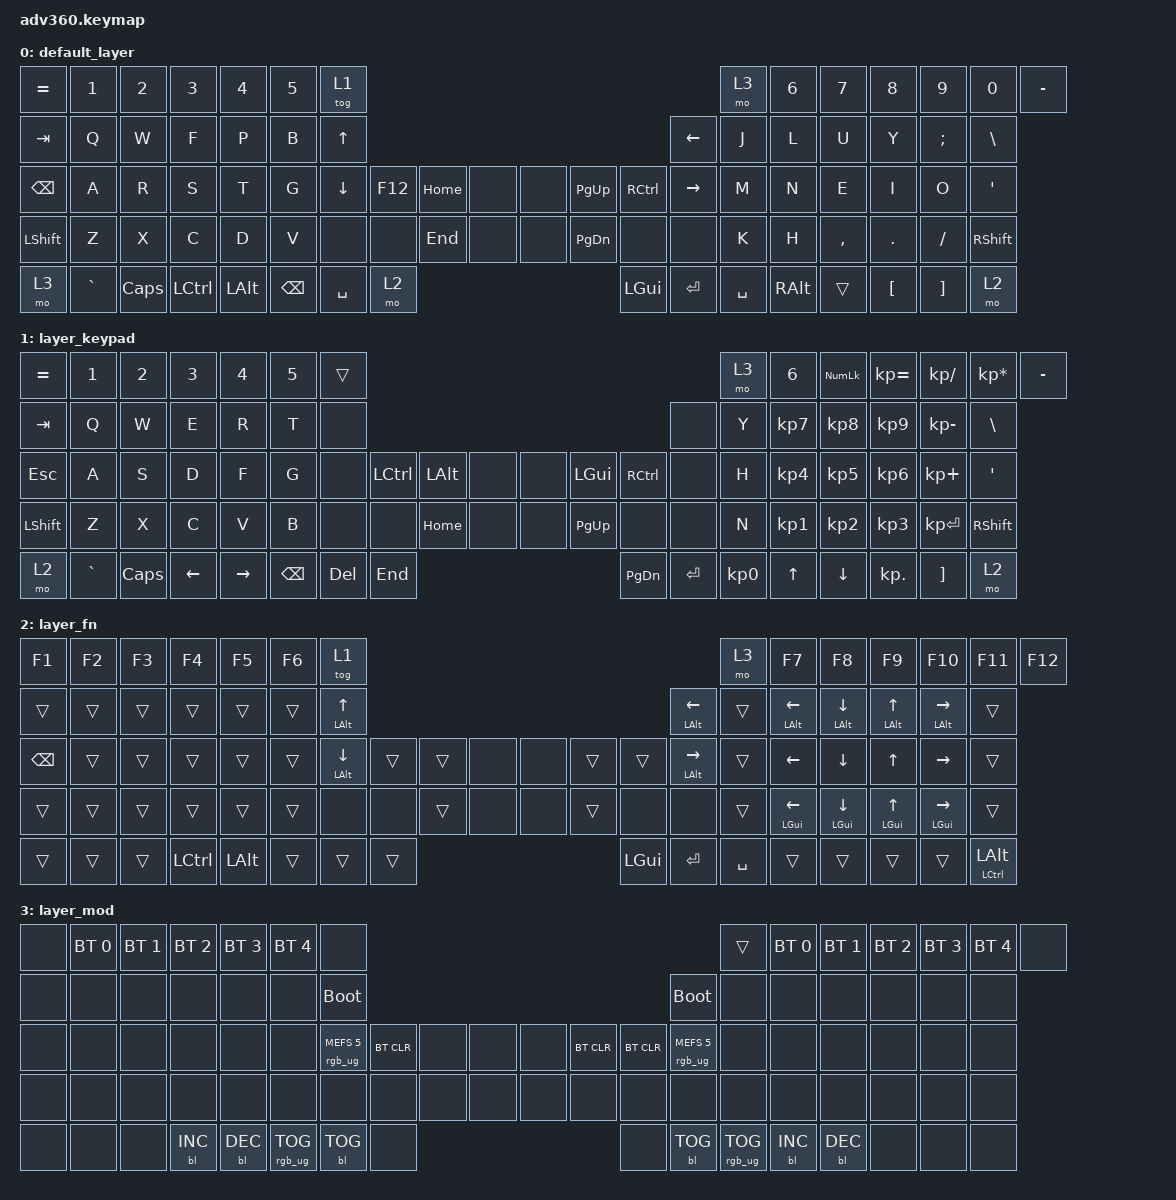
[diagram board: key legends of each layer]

/*
 * Copyright (c) 2020 The ZMK Contributors
 *
 * SPDX-License-Identifier: MIT
 */


/* THIS FILE WAS GENERATED!
 *
 * This file was generated automatically. You may or may not want to
 * edit it directly.
 */

#include <behaviors.dtsi>
#include <dt-bindings/zmk/keys.h>
#include <dt-bindings/zmk/bt.h>
#include <dt-bindings/zmk/rgb.h>
#include <dt-bindings/zmk/backlight.h>

/ {
  behaviors {
    #include "macros.dtsi"

    hm: homerow_mods {
        compatible = "zmk,behavior-hold-tap";
        label = "HOMEROW_MODS";
        #binding-cells = <2>;
        tapping-term-ms = <200>;
        quick_tap_ms = <175>;
        flavor = "tap-preferred";
        bindings = <&kp>, <&kp>;
    };
  };

    keymap {
        compatible = "zmk,keymap";


        default_layer {
            bindings = <
     &kp EQUAL     &kp N1    &kp N2            &kp N3        &kp N4  &kp N5              &tog 1                                                                 &mo 3  &kp N6         &kp N7     &kp N8    &kp N9         &kp N0  &kp MINUS
       &kp TAB      &kp Q     &kp W             &kp F         &kp P   &kp B              &kp UP                                                              &kp LEFT   &kp J          &kp L      &kp U     &kp Y  &kp SEMICOLON   &kp BSLH
 &kp BACKSPACE      &kp A     &kp R             &kp S         &kp T   &kp G            &kp DOWN    &kp F12  &kp HOME   &none   &none  &kp PG_UP  &kp RCTRL  &kp RIGHT   &kp M          &kp N      &kp E     &kp I          &kp O    &kp SQT
     &kp LSHFT      &kp Z     &kp X             &kp C         &kp D   &kp V               &none      &none   &kp END   &none   &none  &kp PG_DN      &none      &none   &kp K          &kp H  &kp COMMA   &kp DOT       &kp FSLH  &kp RSHFT
         &mo 3  &kp GRAVE  &kp CAPS  &kp LEFT_CONTROL  &kp LEFT_ALT                    &kp BSPC  &kp SPACE     &mo 2                   &kp LGUI  &kp ENTER  &kp SPACE          &kp RIGHT_ALT     &trans  &kp LBKT       &kp RBKT      &mo 2
            >;
        };

        layer_keypad {
            bindings = <
 &kp EQUAL     &kp N1    &kp N2    &kp N3     &kp N4  &kp N5              &trans                                                                 &mo 3  &kp N6  &kp KP_NUM  &kp KP_EQUAL  &kp KP_DIVIDE  &kp KP_MULTIPLY  &kp MINUS
   &kp TAB      &kp Q     &kp W     &kp E      &kp R   &kp T               &none                                                                 &none   &kp Y   &kp KP_N7     &kp KP_N8      &kp KP_N9     &kp KP_MINUS   &kp BSLH
   &kp ESC      &kp A     &kp S     &kp D      &kp F   &kp G               &none  &kp LCTRL  &kp LALT   &none   &none   &kp LGUI  &kp RCTRL      &none   &kp H   &kp KP_N4     &kp KP_N5      &kp KP_N6      &kp KP_PLUS    &kp SQT
 &kp LSHFT      &kp Z     &kp X     &kp C      &kp V   &kp B               &none      &none  &kp HOME   &none   &none  &kp PG_UP      &none      &none   &kp N   &kp KP_N1     &kp KP_N2      &kp KP_N3     &kp KP_ENTER  &kp RSHFT
     &mo 2  &kp GRAVE  &kp CAPS  &kp LEFT  &kp RIGHT                    &kp BSPC    &kp DEL   &kp END                  &kp PG_DN  &kp ENTER  &kp KP_N0              &kp UP      &kp DOWN     &kp KP_DOT         &kp RBKT      &mo 2
            >;
        };

        layer_fn {
            bindings = <
        &kp F1  &kp F2  &kp F3     &kp F4        &kp F5  &kp F6                   &tog 1                                                                &mo 3  &kp F7         &kp F8         &kp F9      &kp F10         &kp F11             &kp F12
        &trans  &trans  &trans     &trans        &trans  &trans              &mt LALT UP                                                        &mt LALT LEFT  &trans  &mt LALT LEFT  &mt LALT DOWN  &mt LALT UP  &mt LALT RIGHT              &trans
 &kp BACKSPACE  &trans  &trans     &trans        &trans  &trans            &mt LALT DOWN  &trans  &trans   &none   &none    &trans     &trans  &mt LALT RIGHT  &trans       &kp LEFT       &kp DOWN       &kp UP       &kp RIGHT              &trans
        &trans  &trans  &trans     &trans        &trans  &trans                    &none   &none  &trans   &none   &none    &trans      &none           &none  &trans  &mt LGUI LEFT  &mt LGUI DOWN  &mt LGUI UP  &mt LGUI RIGHT              &trans
        &trans  &trans  &trans  &kp LCTRL  &kp LEFT_ALT                           &trans  &trans  &trans                  &kp LGUI  &kp ENTER       &kp SPACE                 &trans         &trans       &trans          &trans  &mt LCTRL LEFT_ALT
            >;
        };

        layer_mod {
            bindings = <
  &none  &bt BT_SEL 0  &bt BT_SEL 1  &bt BT_SEL 2  &bt BT_SEL 3  &bt BT_SEL 4                             &none                                                                              &trans  &bt BT_SEL 0  &bt BT_SEL 1  &bt BT_SEL 2  &bt BT_SEL 3  &bt BT_SEL 4   &none
  &none         &none         &none         &none         &none         &none                       &bootloader                                                                         &bootloader         &none         &none         &none         &none         &none   &none
  &none         &none         &none         &none         &none         &none            &rgb_ug RGB_MEFS_CMD 5  &bt BT_CLR   &none   &none   &none  &bt BT_CLR  &bt BT_CLR  &rgb_ug RGB_MEFS_CMD 5         &none         &none         &none         &none         &none   &none
  &none         &none         &none         &none         &none         &none                             &none       &none   &none   &none   &none       &none       &none                   &none         &none         &none         &none         &none         &none   &none
  &none         &none         &none    &bl BL_INC    &bl BL_DEC                                 &rgb_ug RGB_TOG  &bl BL_TOG   &none                       &none  &bl BL_TOG         &rgb_ug RGB_TOG                  &bl BL_INC    &bl BL_DEC         &none         &none   &none
            >;
        };

    };
};
